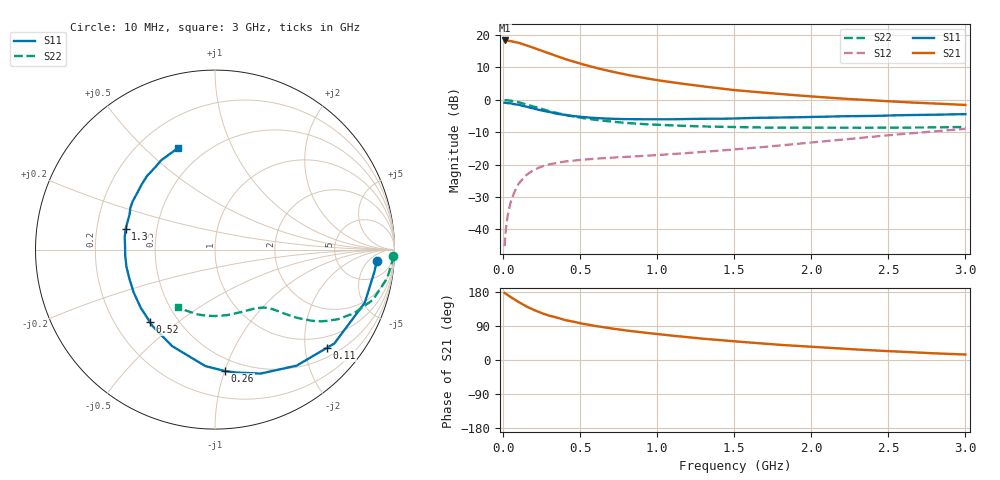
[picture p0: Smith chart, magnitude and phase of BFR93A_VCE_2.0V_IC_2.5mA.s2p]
! Infineon Technologies  Discrete & RF Semiconductors
! BFR93A
! VCE =  2.0 V,  IC =  2.5 mA
! Common Emitter S-Parameters:  Nov 2015
# GHz  S  MA  R  50
!  f  S11  S21  S12  S22
! GHz  MAG  ANG  MAG  ANG  MAG  ANG  MAG  ANG
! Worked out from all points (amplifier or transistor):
!   180 points, 10 MHz to 3 GHz, reference 50 ohm
!   highest |S21| = 18.3 dB at 10 MHz (marker M1)
!   |S21| within 3 dB of that: start of sweep to 240.4 MHz
!   unconditionally stable (mu >= 1): 916 MHz to 2.975 GHz
!   at 160 MHz: K = 0.23, MSG = 19.8 dB, |S12| = -22.9 dB
!   at 1.22 GHz: K = 1.14, MAG = 8.2 dB, |S12| = -16.3 dB
!   at 3 GHz: K = 1.00, MSG = 3.7 dB, |S12| = -8.9 dB
!   S11 on the Smith chart (normalised r, x): 10 MHz: 13, -9; 110 MHz: 0.71, -2.48; 260 MHz: 0.40, -1.00; 520 MHz: 0.35, -0.40; 1.3 GHz: 0.33, +0.10; 3 GHz: 0.36, +0.64
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0.01  0.9034 -4.0  8.269 177.0  0.0055 87.5  0.9922 -2.0
0.025  0.8924 -9.7  8.21 172.7  0.0135 83.4  0.9862 -4.7
0.045  0.8848 -17.5  8.105 167.1  0.0239 79.7  0.9749 -8.5
0.1  0.8459 -38.2  7.624 153.2  0.0502 69.3  0.9226 -17.7
0.11  0.8295 -41.3  7.474 151.0  0.0538 67.1  0.9078 -19.0
0.15  0.7907 -54.8  6.992 141.6  0.0686 60.8  0.8534 -24.5
0.16  0.7757 -57.6  6.851 139.8  0.0714 59.4  0.8395 -25.5
0.2  0.7361 -69.8  6.359 132.1  0.0828 54.6  0.7862 -29.6
0.26  0.6785 -85.4  5.634 122.4  0.0947 48.5  0.7126 -34.1
0.3  0.6513 -94.7  5.209 116.9  0.1008 45.7  0.6698 -36.3
0.4  0.5883 -114.0  4.29 105.6  0.1116 40.8  0.5871 -40.1
0.5  0.55 -129.3  3.627 96.8  0.1182 38.1  0.5301 -42.5
0.52  0.5431 -131.7  3.523 95.5  0.1192 37.9  0.522 -42.8
0.6  0.5255 -141.9  3.128 89.6  0.1234 37.0  0.4899 -44.3
0.7  0.5122 -152.2  2.747 83.3  0.1279 36.9  0.4618 -46.0
0.8  0.5039 -161.1  2.449 77.8  0.1316 37.5  0.4402 -47.8
1.02  0.5008 -177.2  1.982 67.5  0.1413 39.7  0.4102 -52.2
1.3  0.5111 166.8  1.613 56.1  0.1572 43.4  0.3882 -59.3
1.52  0.5167 156.9  1.402 48.6  0.173 46.3  0.3786 -66.0
2.02  0.5466 138.4  1.122 34.2  0.2216 50.2  0.3702 -82.9
2.52  0.574 123.3  0.946 23.0  0.2868 49.6  0.3721 -102.2
3  0.6015 110.0  0.835 14.4  0.357 45.5  0.382 -123.1
